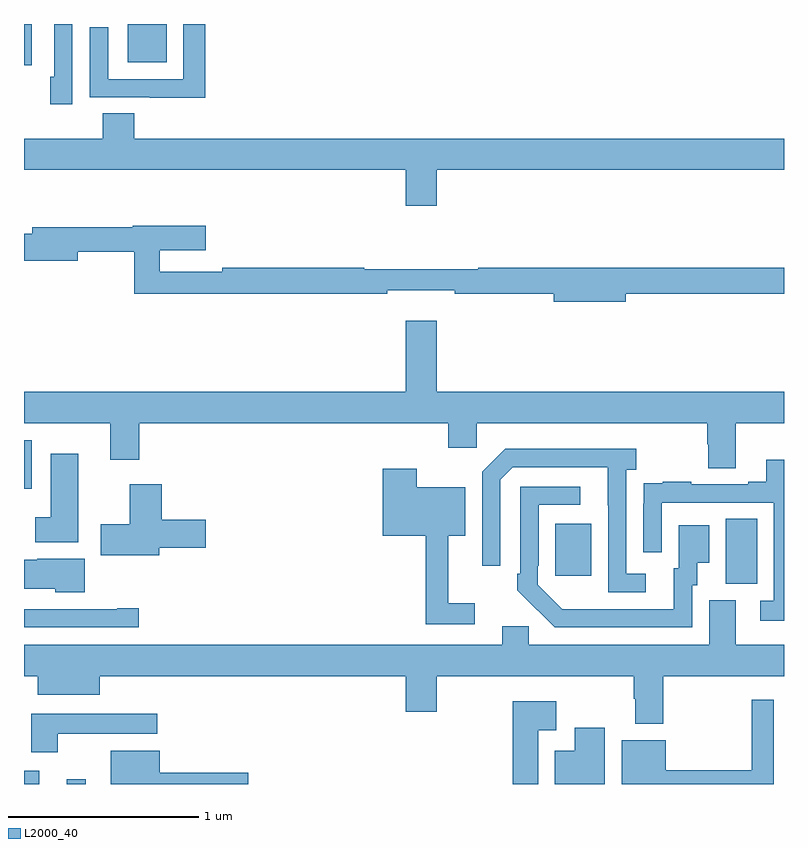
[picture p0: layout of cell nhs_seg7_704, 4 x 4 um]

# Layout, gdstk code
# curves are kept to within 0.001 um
import gdstk
lib = gdstk.Library(unit=1e-6, precision=1e-09)
def R(c, l, rs):  # rectangles x0, y0, x1, y1
    for r in rs: c.add(gdstk.rectangle(r[:2], r[2:], *l))
def P(c, l, *ps):  # polygons
    for p in ps: c.add(gdstk.Polygon(p, *l))
L2000_40 = (2000, 40)

nhs_seg7_704 = lib.new_cell('nhs_seg7_704')
R(nhs_seg7_704, L2000_40, [(163,1048,163.081,1048.069), (163.226,1048,163.324,1048.024), (166.694,1049.053,166.858,1049.396), (165.797,1049.097,165.985,1049.371), (163,1049.555,163.042,1049.809), (163,1051.783,163.042,1052), (163.547,1051.799,163.75,1052)])
P(nhs_seg7_704, L2000_40, [(163.955,1052),(163.839,1052),(163.839,1051.71),(163.443,1051.71),(163.443,1051.984),(163.347,1051.984),(163.347,1051.614),(163.663,1051.614),(163.663,1051.613),(163.955,1051.613)],
  [(163.254,1052),(163.158,1052),(163.158,1051.722),(163.139,1051.722),(163.139,1051.578),(163.254,1051.578)],
  [(165.172,1051.232),(167,1051.232),(167,1051.396),(163.58,1051.396),(163.58,1051.529),(163.415,1051.529),(163.415,1051.396),(163,1051.396),(163,1051.232),(165.008,1051.232),(165.008,1051.044),(165.172,1051.044)],
  [(166.168,1050.58),(167,1050.58),(167,1050.716),(165.392,1050.716),(165.392,1050.709),(164.792,1050.709),(164.792,1050.716),(164.044,1050.716),(164.044,1050.696),(163.715,1050.696),(163.715,1050.809),(163.957,1050.809),(163.957,1050.939),(163.572,1050.939),(163.572,1050.931),(163.043,1050.931),(163.043,1050.897),(163,1050.897),(163,1050.755),(163.282,1050.755),(163.282,1050.802),(163.579,1050.802),(163.579,1050.58),(164.912,1050.58),(164.912,1050.599),(165.268,1050.599),(165.268,1050.58),(165.788,1050.58),(165.788,1050.538),(166.168,1050.538)],
  [(166.747,1049.9),(167,1049.9),(167,1050.064),(165.172,1050.064),(165.172,1050.439),(165.008,1050.439),(165.008,1050.064),(163,1050.064),(163,1049.9),(163.454,1049.9),(163.454,1049.706),(163.607,1049.706),(163.607,1049.9),(165.233,1049.9),(165.233,1049.769),(165.384,1049.769),(165.384,1049.9),(166.595,1049.9),(166.595,1049.787),(166.6,1049.787),(166.6,1049.662),(166.747,1049.662)],
  [(166.273,1049.106),(166.17,1049.106),(166.17,1049.654),(166.222,1049.654),(166.222,1049.764),(165.532,1049.764),(165.411,1049.643),(165.411,1049.148),(165.507,1049.148),(165.507,1049.601),(165.573,1049.667),(166.073,1049.667),(166.074,1049.01),(166.273,1049.01)],
  [(163.285,1049.737),(163.142,1049.737),(163.142,1049.404),(163.058,1049.404),(163.058,1049.273),(163.285,1049.273)],
  [(167,1049.707),(166.907,1049.707),(166.907,1049.59),(166.811,1049.59),(166.811,1049.577),(166.511,1049.577),(166.511,1049.59),(166.363,1049.59),(166.363,1049.583),(166.261,1049.583),(166.261,1049.474),(166.26,1049.474),(166.26,1049.22),(166.356,1049.22),(166.356,1049.481),(166.947,1049.481),(166.947,1048.965),(166.875,1048.965),(166.875,1048.86),(167,1048.86)],
  [(165.373,1048.951),(165.233,1048.951),(165.233,1049.306),(165.322,1049.306),(165.322,1049.563),(165.066,1049.563),(165.066,1049.659),(164.888,1049.659),(164.888,1049.306),(165.115,1049.306),(165.115,1048.842),(165.373,1048.842)],
  [(163.711,1049.243),(163.957,1049.243),(163.957,1049.39),(163.724,1049.39),(163.724,1049.578),(163.556,1049.578),(163.556,1049.367),(163.404,1049.367),(163.404,1049.204),(163.711,1049.204)],
  [(166.518,1049.046),(166.543,1049.046),(166.543,1049.165),(166.606,1049.165),(166.606,1049.362),(166.445,1049.362),(166.445,1049.136),(166.421,1049.136),(166.421,1048.92),(165.834,1048.921),(165.705,1049.049),(165.705,1049.149),(165.708,1049.149),(165.708,1049.469),(165.928,1049.469),(165.928,1049.565),(165.612,1049.565),(165.612,1049.107),(165.597,1049.107),(165.597,1049.019),(165.794,1048.824),(166.518,1048.824)],
  [(163.321,1049.185),(163.069,1049.185),(163.069,1049.181),(163,1049.181),(163,1049.027),(163.164,1049.027),(163.164,1049.009),(163.321,1049.009)],
  [(166.365,1048.568),(167,1048.568),(167,1048.732),(166.747,1048.732),(166.747,1048.968),(166.607,1048.968),(166.607,1048.732),(165.657,1048.732),(165.657,1048.83),(165.518,1048.83),(165.518,1048.732),(163,1048.732),(163,1048.568),(163.073,1048.568),(163.073,1048.469),(163.399,1048.469),(163.399,1048.568),(165.008,1048.568),(165.008,1048.38),(165.172,1048.38),(165.172,1048.568),(166.21,1048.568),(166.21,1048.448),(166.217,1048.448),(166.217,1048.316),(166.365,1048.316)],
  [(163.603,1048.925),(163.49,1048.925),(163.49,1048.92),(163,1048.92),(163,1048.824),(163.603,1048.824)],
  [(166.945,1048.444),(166.831,1048.444),(166.831,1048.073),(166.378,1048.073),(166.378,1048.231),(166.145,1048.231),(166.145,1048),(166.945,1048)],
  [(165.706,1048.283),(165.802,1048.283),(165.802,1048.435),(165.572,1048.435),(165.572,1048),(165.706,1048)],
  [(163.177,1048.265),(163.702,1048.265),(163.702,1048.369),(163.037,1048.369),(163.037,1048.167),(163.177,1048.167)],
  [(166.057,1048.297),(165.899,1048.297),(165.899,1048.174),(165.794,1048.174),(165.794,1048),(166.057,1048)],
  [(164.179,1048.058),(163.714,1048.058),(163.714,1048.174),(163.457,1048.174),(163.457,1048),(164.179,1048)])

lib.write_gds('nhs_seg7_704.gds')
